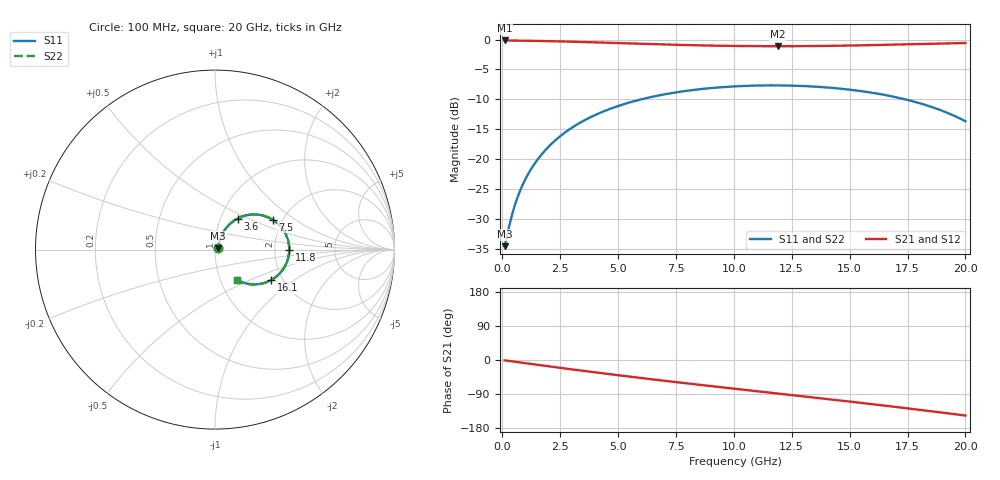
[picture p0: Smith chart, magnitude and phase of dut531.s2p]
! Touchstone file exported from HFSS 2026.1.0
!  File:  C:/ffzhzh/LocalFiles/Ansys_Project_Files/temp_train_TSV_RDL_531_1783111980_37876.aedt
!  Generated:  05:04:48 AM Jul  4, 2026
!  Design:  TSV_RDL
!  Project:  temp_train_TSV_RDL_531_1783111980_37876
! Variables:
!  h_bsmrdl = 3.88um
!  h_ox = 20um
!  h_rdl = 5um
!  h_sub = 73.51um
!  h_tmrdl = 2.73um
!  h_tsv = 73.51um
!  h_via = 3um
!  l_bsmrdl = 333.49um
!  l_sub = 2446.35um
!  l_tmrdl = 239.03um
!  m_sub = 200um
!  pitch = 28.7um
!  r_tsv = 5.04um
!  s_tmrdl = 10um
!  w_bsmrdl = 13.96um
!  w_sub = 500um
!  w_tmrdl = 15.96um
!  x_tsv_center1 = 247.01um
!  x_tsv_center2 = 594.46um
!  x_tsv_center3 = 849.45um
!  x_tsv_center4 = 1196.9um
!  x_tsv_center5 = 1451.89um
!  x_tsv_center6 = 1799.34um
# GHz S MA R 50.000000
! Terminal data exported
! Port[1] = TM_RDL1_1_T1
! Port[2] = TM_RDL5_1_T1
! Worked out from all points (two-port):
!   200 points, 100 MHz to 20 GHz, reference 50 ohm
!   highest |S21| = -0.15 dB at 100 MHz (marker M1); lowest = -1.1 dB at 11.9 GHz (marker M2)
!   |S21| within 3 dB of the highest: start of sweep to end of sweep
!   lowest |S11| = -34.6 dB at 100 MHz (marker M3), VSWR 1.04, Z = 51.8 + j0.713 ohm
!   |S11| at or under -10 dB: start of sweep to 5.999 GHz; 17.39 GHz to end of sweep
!   |S22| runs from -34.6 to -7.7 dB; largest |S21 - S12| = 3.9e-13
!   S11 on the Smith chart (normalised r, x): 100 MHz: 1.04, +0.01; 3.6 GHz: 1.20, +0.44; 7.5 GHz: 1.78, +0.68; 11.8 GHz: 2.41, -0.02; 16.1 GHz: 1.74, -0.68; 20 GHz: 1.20, -0.42
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0.1  0.01871 21.6  0.9827 -0.9  0.9827 -0.9  0.01871 21.6
! Gamma 0 0 0 0
! Port Impedance 50 0 50 0
0.4  0.03306 52.3  0.981 -3.4  0.981 -3.4  0.03306 52.3
0.6  0.04452 59.1  0.9798 -5.1  0.9798 -5.1  0.04452 59.1
0.9  0.0622 63.4  0.978 -7.6  0.978 -7.6  0.0622 63.4
1.3  0.08599 64.9  0.9754 -10.9  0.9754 -10.9  0.08599 64.9
1.7  0.1096 64.3  0.9723 -14.2  0.9723 -14.2  0.1096 64.3
2.2  0.1386 62.4  0.9679 -18.3  0.9679 -18.3  0.1386 62.4
2.8  0.172 59.1  0.9617 -23.1  0.9617 -23.1  0.172 59.1
3.5  0.2088 54.7  0.9535 -28.6  0.9535 -28.6  0.2088 54.7
3.6  0.2138 54.0  0.9522 -29.4  0.9522 -29.4  0.2138 54.0
5.1  0.2821 43.8  0.9328 -40.9  0.9328 -40.9  0.2821 43.8
6.8  0.3422 32.2  0.9114 -53.4  0.9114 -53.4  0.3423 32.2
7.5  0.3616 27.5  0.9036 -58.4  0.9036 -58.4  0.3616 27.5
10.1  0.4064 10.4  0.8836 -76.3  0.8836 -76.3  0.4065 10.4
11.8  0.4137 -0.6  0.8794 -87.8  0.8794 -87.8  0.4137 -0.6
11.9  0.4136 -1.2  0.8794 -88.5  0.8794 -88.5  0.4136 -1.2
13.4  0.405 -10.9  0.8823 -98.6  0.8823 -98.6  0.405 -10.9
14.8  0.3849 -20.0  0.8895 -108.3  0.8895 -108.3  0.3849 -20.0
16.1  0.3556 -28.5  0.8995 -117.4  0.8995 -117.4  0.3556 -28.6
16.7  0.3386 -32.5  0.9049 -121.8  0.9049 -121.8  0.3386 -32.6
18.5  0.2747 -44.6  0.9221 -135.1  0.9221 -135.1  0.2747 -44.6
20  0.2075 -54.3  0.9355 -146.6  0.9355 -146.6  0.2076 -54.3
